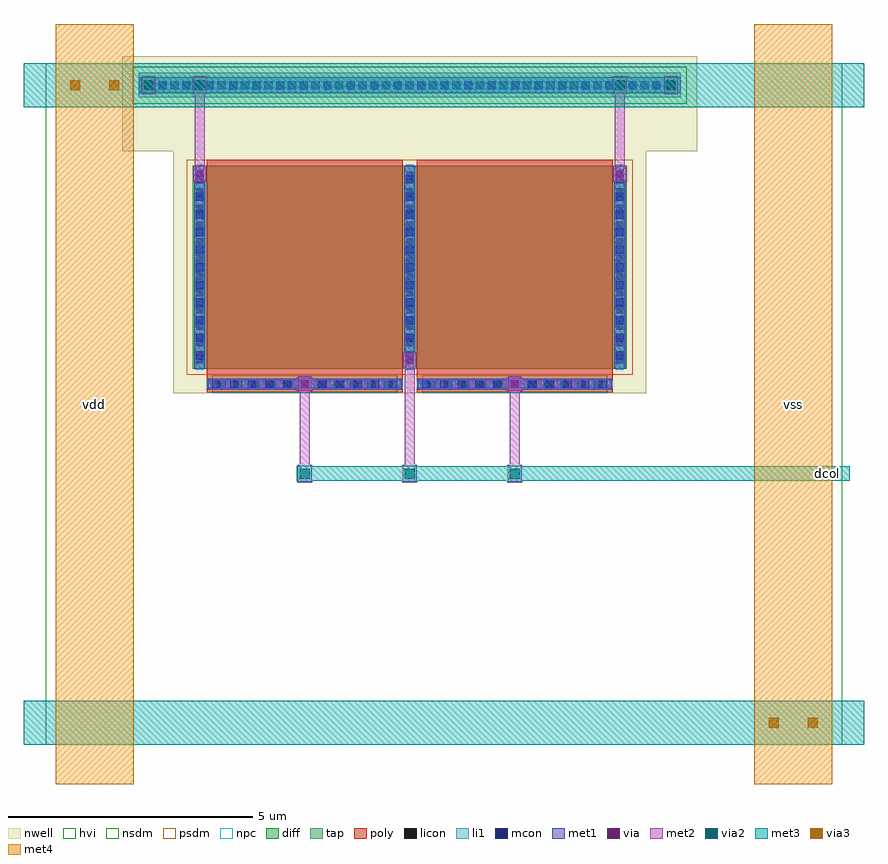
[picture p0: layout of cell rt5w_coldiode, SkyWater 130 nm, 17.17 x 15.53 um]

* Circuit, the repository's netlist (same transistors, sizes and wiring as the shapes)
** sch_path: /home/claude/rt5w_sky/tt/xschem/rt5w_coldiode.sch
.subckt rt5w_coldiode dcol vdd
*.iopin dcol
XMd dcol dcol vdd vdd sky130_fd_pr__pfet_g5v0d10v5 L=4 W=8.27 nf=1 ad=2.398 as=2.398 pd=17.12 ps=17.12 nrd=0.03507 nrs=0.03507
+ sa=0 sb=0 sd=0 mult=1 m=1
.ends
.GLOBAL vdd
.end

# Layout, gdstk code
import gdstk
lib = gdstk.Library(unit=1e-6, precision=1e-09)
def R(c, l, rs):  # rectangles x0, y0, x1, y1
    for r in rs: c.add(gdstk.rectangle(r[:2], r[2:], *l))
def A(c, l, x, y, w, h, nx, ny, dx, dy):  # array of equal rectangles
    R(c, l, [(x+i*dx, y+j*dy, x+i*dx+w, y+j*dy+h) for i in range(nx) for j in range(ny)])
nwell = (64, 20)
diff = (65, 20)
tap = (65, 44)
poly = (66, 20)
licon = (66, 44)
li1 = (67, 20)
mcon = (67, 44)
met1 = (68, 20)
via = (68, 44)
met2 = (69, 20)
via2 = (69, 44)
met3 = (70, 20)
via3 = (70, 44)
met4 = (71, 20)
hvi = (75, 20)
nsdm = (93, 44)
psdm = (94, 20)
npc = (95, 20)

pfet_w4p135_l4_nf2_b_ng = lib.new_cell('pfet_W4p135_L4_nf2_b_ng')
R(pfet_w4p135_l4_nf2_b_ng, nwell, [(-4.835,-2.39,4.835,2.65), (-4.615,-2.39,4.615,2.56)])
R(pfet_w4p135_l4_nf2_b_ng, diff, [(-4.435,-1.89,4.435,2.25)])
R(pfet_w4p135_l4_nf2_b_ng, poly, [(-4.145,-2.375,-0.145,2.38), (0.145,-2.375,4.145,2.38)])
A(pfet_w4p135_l4_nf2_b_ng, licon, -3.93, -2.295, 0.17, 0.17, 11, 1, 0.34, 0)
A(pfet_w4p135_l4_nf2_b_ng, licon, 0.36, -2.295, 0.17, 0.17, 11, 1, 0.34, 0)
A(pfet_w4p135_l4_nf2_b_ng, licon, -4.375, -1.775, 0.17, 0.17, 3, 12, 4.29, 0.34)
A(pfet_w4p135_l4_nf2_b_ng, li1, -4.375, -1.91, 0.17, 4.18, 3, 1, 4.29, 0)
R(pfet_w4p135_l4_nf2_b_ng, li1, [(-4.145,-2.295,-0.145,-2.125), (0.145,-2.295,4.145,-2.125)])
A(pfet_w4p135_l4_nf2_b_ng, mcon, -4.03, -2.295, 0.17, 0.17, 11, 1, 0.36, 0)
A(pfet_w4p135_l4_nf2_b_ng, mcon, 0.26, -2.295, 0.17, 0.17, 11, 1, 0.36, 0)
A(pfet_w4p135_l4_nf2_b_ng, mcon, -4.375, -1.705, 0.17, 0.17, 3, 11, 4.29, 0.36)
A(pfet_w4p135_l4_nf2_b_ng, met1, -4.405, -1.89, 0.23, 4.14, 3, 1, 4.29, 0)
R(pfet_w4p135_l4_nf2_b_ng, met1, [(-4.125,-2.325,-0.165,-2.095), (0.165,-2.325,4.125,-2.095)])
R(pfet_w4p135_l4_nf2_b_ng, hvi, [(-4.615,-2.39,4.615,-2.075), (-4.62,-2.075,4.62,2.435), (-4.615,2.435,4.615,2.56)])
R(pfet_w4p135_l4_nf2_b_ng, psdm, [(-4.56,-2.015,4.56,2.375)])
R(pfet_w4p135_l4_nf2_b_ng, npc, [(-4.03,-2.395,-0.26,-2.025), (0.26,-2.395,4.03,-2.025)])

rt5w_coldiode = lib.new_cell('rt5w_coldiode')
R(rt5w_coldiode, nwell, [(0,-6.74,9.67,-1.7), (-1.04,-1.8,10.71,-0.45), (-1.04,-1.04,10.71,0.14)])
R(rt5w_coldiode, tap, [(-0.7,-0.7,10.37,-0.2)])
A(rt5w_coldiode, licon, -0.535, -0.535, 0.17, 0.17, 23, 1, 0.48, 0)
R(rt5w_coldiode, li1, [(-0.655,-0.615,10.325,-0.285)])
A(rt5w_coldiode, mcon, -0.295, -0.535, 0.17, 0.17, 22, 1, 0.48, 0)
R(rt5w_coldiode, met1, [(2.53,-6.69,2.85,-6.43), (6.82,-6.69,7.14,-6.43), (4.705,-6.24,4.965,-5.92), (0.415,-2.42,0.675,-2.1), (8.995,-2.42,9.255,-2.1), (-0.7,-0.615,10.37,-0.285), (-0.66,-0.58,-0.34,-0.32), (10.01,-0.58,10.33,-0.32)])
R(rt5w_coldiode, via, [(2.615,-6.635,2.765,-6.485), (6.905,-6.635,7.055,-6.485), (4.76,-6.155,4.91,-6.005), (0.47,-2.335,0.62,-2.185), (9.05,-2.335,9.2,-2.185), (-0.575,-0.525,-0.425,-0.375), (10.095,-0.525,10.245,-0.375)])
A(rt5w_coldiode, met2, 2.55, -8.57, 0.28, 0.37, 3, 1, 2.145, 0)
R(rt5w_coldiode, met2, [(2.59,-8.485,2.79,-6.46), (4.735,-8.485,4.935,-5.98), (6.88,-8.485,7.08,-6.46), (2.56,-6.72,2.82,-6.4), (6.85,-6.72,7.11,-6.4), (4.705,-6.24,4.965,-5.92), (0.415,-2.42,0.675,-2.1), (8.995,-2.42,9.255,-2.1), (0.445,-2.36,0.645,-0.35), (9.025,-2.36,9.225,-0.35), (-0.64,-0.635,-0.36,-0.265), (0.405,-0.635,0.685,-0.265), (8.985,-0.635,9.265,-0.265), (10.03,-0.635,10.31,-0.265), (-0.63,-0.61,-0.37,-0.29), (10.04,-0.61,10.3,-0.29)])
A(rt5w_coldiode, via2, 2.59, -8.485, 0.2, 0.2, 3, 1, 2.145, 0)
R(rt5w_coldiode, via2, [(-0.6,-0.55,-0.4,-0.35), (0.445,-0.55,0.645,-0.35), (9.025,-0.55,9.225,-0.35), (10.07,-0.55,10.27,-0.35)])
A(rt5w_coldiode, met3, 2.525, -8.55, 0.33, 0.33, 3, 1, 2.145, 0)
R(rt5w_coldiode, met3, [(-3.05,-13.925,14.12,-13.025), (12.075,-13.64,12.465,-13.31), (12.875,-13.64,13.265,-13.31), (2.54,-8.535,13.82,-8.235), (-3.05,-0.9,14.12,0), (-2.195,-0.615,-1.805,-0.285), (-1.395,-0.615,-1.005,-0.285), (-0.665,-0.615,-0.335,-0.285), (0.38,-0.615,0.71,-0.285), (8.96,-0.615,9.29,-0.285), (10.005,-0.615,10.335,-0.285)])
R(rt5w_coldiode, via3, [(12.17,-13.575,12.37,-13.375), (12.97,-13.575,13.17,-13.375), (-2.1,-0.55,-1.9,-0.35), (-1.3,-0.55,-1.1,-0.35)])
R(rt5w_coldiode, met4, [(-2.4,-14.725,-0.8,0.8), (11.87,-14.725,13.47,0.8), (12.02,-13.725,12.52,-13.225), (12.82,-13.725,13.32,-13.225), (-2.25,-0.7,-1.75,-0.2), (-1.45,-0.7,-0.95,-0.2)])
R(rt5w_coldiode, hvi, [(-2.6,-13.925,13.67,0)])
R(rt5w_coldiode, nsdm, [(-0.825,-0.825,10.495,-0.075)])
rt5w_coldiode.add(gdstk.Reference(pfet_w4p135_l4_nf2_b_ng, (4.835,-4.35)))
rt5w_coldiode.add(gdstk.Label('dcol', (13.37,-8.385), layer=70, texttype=5))
rt5w_coldiode.add(gdstk.Label('vdd', (-1.6,-6.963), layer=71, texttype=5))
rt5w_coldiode.add(gdstk.Label('vss', (12.67,-6.963), layer=71, texttype=5))

lib.write_gds('rt5w_coldiode.gds')
